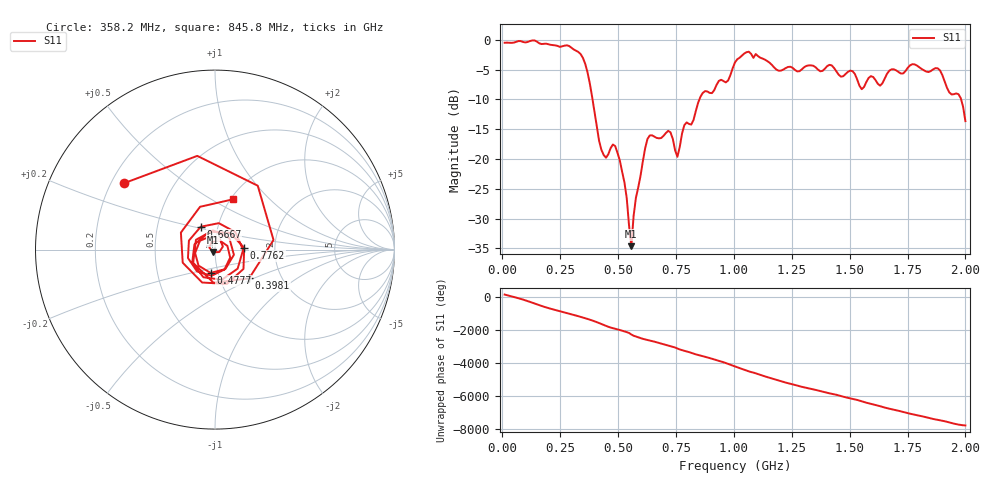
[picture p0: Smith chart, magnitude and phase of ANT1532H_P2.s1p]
!Created with skrf (http://scikit-rf.org).
# Hz S RI R 50.0
!freq ReS11 ImS11
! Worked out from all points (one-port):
!   201 points, 10 MHz to 2 GHz, reference 50 ohm
!   lowest |S11| = -34.6 dB at 557.2 MHz (marker M1), VSWR 1.04, Z = 48.9 - j1.5 ohm
!   |S11| at or under -10 dB: 389.6 MHz to 851.4 MHz (461.8 MHz wide, 74.4 % of centre); 1.981 GHz to end of sweep
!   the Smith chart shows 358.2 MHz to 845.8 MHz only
!   S11 on the Smith chart (normalised r, x): 358.2 MHz: 0.25, +0.31; 398.1 MHz: 1.38, -0.47; 477.6 MHz: 0.92, -0.24; 666.7 MHz: 0.83, +0.22; 776.1 MHz: 1.39, +0.03; 845.8 MHz: 1.02, +0.63
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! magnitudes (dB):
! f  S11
! 10 MHz  -0.5
! 258.8 MHz  -1.1
! 358.2 MHz  -4.1
! 398.1 MHz  -12.1
! 437.9 MHz  -19.3
! 477.6 MHz  -17.6
! 507.5 MHz  -20.2
! 537.4 MHz  -26.5
! 557.2 MHz  -34.6
! 577.1 MHz  -26.5
! 617 MHz  -18.2
! 666.7 MHz  -16.5
! 726.4 MHz  -15.5
! 756.2 MHz  -19.6
! 776.1 MHz  -15.8
! 845.8 MHz  -10.6
! 975.1 MHz  -6.8
! 1.005 GHz  -3.8
! 1.065 GHz  -2.0
! 1.254 GHz  -4.7
! 1.502 GHz  -5.2
! 1.552 GHz  -8.3
! 1.592 GHz  -6.1
! 1.751 GHz  -4.7
! 1.881 GHz  -4.8
! 1.93 GHz  -8.8
! 1.98 GHz  -9.8
! 2 GHz  -13.7
